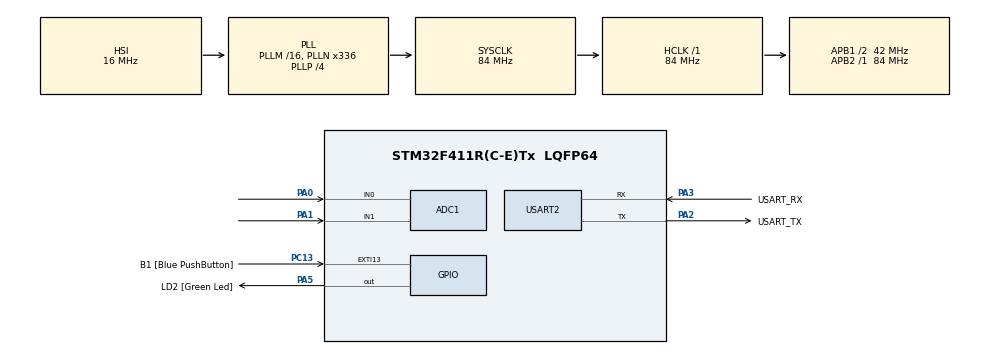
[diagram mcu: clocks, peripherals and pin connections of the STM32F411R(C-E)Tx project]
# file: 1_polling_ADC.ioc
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ADC1.Channel-0\#ChannelRegularConversion=ADC_CHANNEL_0
ADC1.Channel-1\#ChannelRegularConversion=ADC_CHANNEL_1
ADC1.ContinuousConvMode=ENABLE
ADC1.NbrOfConversion=2
ADC1.NbrOfConversionFlag=1
ADC1.Rank-0\#ChannelRegularConversion=1
ADC1.Rank-1\#ChannelRegularConversion=2
ADC1.SamplingTime-0\#ChannelRegularConversion=ADC_SAMPLETIME_84CYCLES
ADC1.SamplingTime-1\#ChannelRegularConversion=ADC_SAMPLETIME_84CYCLES
ADC1.ScanConvMode=ENABLE
ADC1.master=1
Mcu.Family=STM32F4
Mcu.Name=STM32F411R(C-E)Tx
Mcu.Package=LQFP64
NVIC.PriorityGroup=NVIC_PRIORITYGROUP_0
PA0-WKUP.Signal=ADCx_IN0
PA1.Signal=ADCx_IN1
PA13.GPIO_Label=TMS
PA13.Mode=Serial_Wire
PA13.Signal=SYS_JTMS-SWDIO
PA14.GPIO_Label=TCK
PA14.Mode=Serial_Wire
PA14.Signal=SYS_JTCK-SWCLK
PA2.GPIO_Label=USART_TX
PA2.Mode=Asynchronous
PA2.Signal=USART2_TX
PA3.GPIO_Label=USART_RX
PA3.Mode=Asynchronous
PA3.Signal=USART2_RX
PA5.GPIO_Label=LD2 [Green Led]
PA5.Signal=GPIO_Output
PB3.GPIO_Label=SWO
PB3.Signal=SYS_JTDO-SWO
PC13-ANTI_TAMP.GPIO_Label=B1 [Blue PushButton]
PC13-ANTI_TAMP.GPIO_ModeDefaultEXTI=GPIO_MODE_IT_FALLING
PC13-ANTI_TAMP.Signal=GPXTI13
PC14-OSC32_IN.Mode=LSE-External-Oscillator
PC14-OSC32_IN.Signal=RCC_OSC32_IN
PC15-OSC32_OUT.Mode=LSE-External-Oscillator
PC15-OSC32_OUT.Signal=RCC_OSC32_OUT
PH0\ -\ OSC_IN.Mode=HSE-External-Clock-Source
PH0\ -\ OSC_IN.Signal=RCC_OSC_IN
PH1\ -\ OSC_OUT.Mode=HSE-External-Clock-Source
PH1\ -\ OSC_OUT.Signal=RCC_OSC_OUT
ProjectManager.HeapSize=0x200
ProjectManager.StackSize=0x400
ProjectManager.TargetToolchain=STM32CubeIDE
RCC.48MHZClocksFreq_Value=84000000
RCC.AHBFreq_Value=84000000
RCC.APB1CLKDivider=RCC_HCLK_DIV2
RCC.APB1Freq_Value=42000000
RCC.APB1TimFreq_Value=84000000
RCC.APB2Freq_Value=84000000
RCC.APB2TimFreq_Value=84000000
RCC.CortexFreq_Value=84000000
RCC.FLatency-AdvancedSettings=FLASH_LATENCY_2
RCC.HCLKFreq_Value=84000000
RCC.HSE_VALUE=8000000
RCC.HSI_VALUE=16000000
RCC.PLLN=336
RCC.PLLP=RCC_PLLP_DIV4
RCC.SYSCLKFreq_VALUE=84000000
RCC.SYSCLKSource=RCC_SYSCLKSOURCE_PLLCLK
RCC.VCOOutputFreq_Value=336000000
SH.ADCx_IN0.0=ADC1_IN0,IN0
SH.ADCx_IN1.0=ADC1_IN1,IN1
USART2.VirtualMode=VM_ASYNC
board=NUCLEO-F411RE

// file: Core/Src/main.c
/* USER CODE BEGIN Header */
/**
  ******************************************************************************
  * @file           : main.c
  * @brief          : Main program body
  ******************************************************************************
  * @attention
  *
  * Copyright (c) 2025 STMicroelectronics.
  * All rights reserved.
  *
  * This software is licensed under terms that can be found in the LICENSE file
  * in the root directory of this software component.
  * If no LICENSE file comes with this software, it is provided AS-IS.
  *
  ******************************************************************************
  */
/* USER CODE END Header */
#include "main.h"

/* USER CODE BEGIN Includes */
#include <stdio.h>
/* USER CODE END Includes */

ADC_HandleTypeDef hadc1;

UART_HandleTypeDef huart2;

void SystemClock_Config(void);
static void MX_GPIO_Init(void);
static void MX_USART2_UART_Init(void);
static void MX_ADC1_Init(void);
/* USER CODE BEGIN PFP */
int __io_putchar(int ch)
{
	HAL_UART_Transmit(&huart2, (uint8_t *)&ch, 1, 0xFFFF);
	return ch;
}
/* USER CODE END PFP */

int main(void)
{

  /* USER CODE BEGIN 1 */
	float volt1=0.0, volt2=0.0;
	uint32_t value1 = 0, value2=0, ad_max=4095;
  /* USER CODE END 1 */

  /* MCU Configuration--------------------------------------------------------*/

  /* Reset of all peripherals, Initializes the Flash interface and the Systick. */
  HAL_Init();

  /* Configure the system clock */
  SystemClock_Config();

  /* Initialize all configured peripherals */
  MX_GPIO_Init();
  MX_USART2_UART_Init();
  MX_ADC1_Init();

  /* Infinite loop */
  /* USER CODE BEGIN WHILE */
  while (1)
  {
	  HAL_ADC_Start(&hadc1);	//ADC Start 함수
	  HAL_ADC_PollForConversion(&hadc1, 100);	//Channel 0
	  value1=HAL_ADC_GetValue(&hadc1);
	  HAL_ADC_PollForConversion(&hadc1, 100);	//Channel 0
	  value2=HAL_ADC_GetValue(&hadc1);
	  HAL_ADC_Stop(&hadc1);
	  volt1=(float)((value1*3.3)/ad_max);
	  volt2=(float)((value2*3.3)/ad_max);
	  printf("\n\r adc value1=%ld, volt1=%1.2f \t value2=%ld, volt2=%1.2f", value1, volt1, value2, volt2);
	  HAL_Delay(10);
    /* USER CODE END WHILE */

  }
}

void SystemClock_Config(void)
{
  RCC_OscInitTypeDef RCC_OscInitStruct = {0};
  RCC_ClkInitTypeDef RCC_ClkInitStruct = {0};

  /** Configure the main internal regulator output voltage
  */
  __HAL_RCC_PWR_CLK_ENABLE();
  __HAL_PWR_VOLTAGESCALING_CONFIG(PWR_REGULATOR_VOLTAGE_SCALE1);

  /** Initializes the RCC Oscillators according to the specified parameters
  * in the RCC_OscInitTypeDef structure.
  */
  RCC_OscInitStruct.OscillatorType = RCC_OSCILLATORTYPE_HSI;
  RCC_OscInitStruct.HSIState = RCC_HSI_ON;
  RCC_OscInitStruct.HSICalibrationValue = RCC_HSICALIBRATION_DEFAULT;
  RCC_OscInitStruct.PLL.PLLState = RCC_PLL_ON;
  RCC_OscInitStruct.PLL.PLLSource = RCC_PLLSOURCE_HSI;
  RCC_OscInitStruct.PLL.PLLM = 16;
  RCC_OscInitStruct.PLL.PLLN = 336;
  RCC_OscInitStruct.PLL.PLLP = RCC_PLLP_DIV4;
  RCC_OscInitStruct.PLL.PLLQ = 4;
  if (HAL_RCC_OscConfig(&RCC_OscInitStruct) != HAL_OK)
  {
    Error_Handler();
  }

  /** Initializes the CPU, AHB and APB buses clocks
  */
  RCC_ClkInitStruct.ClockType = RCC_CLOCKTYPE_HCLK|RCC_CLOCKTYPE_SYSCLK
                              |RCC_CLOCKTYPE_PCLK1|RCC_CLOCKTYPE_PCLK2;
  RCC_ClkInitStruct.SYSCLKSource = RCC_SYSCLKSOURCE_PLLCLK;
  RCC_ClkInitStruct.AHBCLKDivider = RCC_SYSCLK_DIV1;
  RCC_ClkInitStruct.APB1CLKDivider = RCC_HCLK_DIV2;
  RCC_ClkInitStruct.APB2CLKDivider = RCC_HCLK_DIV1;

  if (HAL_RCC_ClockConfig(&RCC_ClkInitStruct, FLASH_LATENCY_2) != HAL_OK)
  {
    Error_Handler();
  }
}

static void MX_ADC1_Init(void)
{

  ADC_ChannelConfTypeDef sConfig = {0};

  /** Configure the global features of the ADC (Clock, Resolution, Data Alignment and number of conversion)
  */
  hadc1.Instance = ADC1;
  hadc1.Init.ClockPrescaler = ADC_CLOCK_SYNC_PCLK_DIV4;
  hadc1.Init.Resolution = ADC_RESOLUTION_12B;
  hadc1.Init.ScanConvMode = ENABLE;
  hadc1.Init.ContinuousConvMode = ENABLE;
  hadc1.Init.DiscontinuousConvMode = DISABLE;
  hadc1.Init.ExternalTrigConvEdge = ADC_EXTERNALTRIGCONVEDGE_NONE;
  hadc1.Init.ExternalTrigConv = ADC_SOFTWARE_START;
  hadc1.Init.DataAlign = ADC_DATAALIGN_RIGHT;
  hadc1.Init.NbrOfConversion = 2;
  hadc1.Init.DMAContinuousRequests = DISABLE;
  hadc1.Init.EOCSelection = ADC_EOC_SINGLE_CONV;
  if (HAL_ADC_Init(&hadc1) != HAL_OK)
  {
    Error_Handler();
  }

  /** Configure for the selected ADC regular channel its corresponding rank in the sequencer and its sample time.
  */
  sConfig.Channel = ADC_CHANNEL_0;
  sConfig.Rank = 1;
  sConfig.SamplingTime = ADC_SAMPLETIME_84CYCLES;
  if (HAL_ADC_ConfigChannel(&hadc1, &sConfig) != HAL_OK)
  {
    Error_Handler();
  }

  /** Configure for the selected ADC regular channel its corresponding rank in the sequencer and its sample time.
  */
  sConfig.Channel = ADC_CHANNEL_1;
  sConfig.Rank = 2;
  if (HAL_ADC_ConfigChannel(&hadc1, &sConfig) != HAL_OK)
  {
    Error_Handler();
  }

}

static void MX_USART2_UART_Init(void)
{

  huart2.Instance = USART2;
  huart2.Init.BaudRate = 115200;
  huart2.Init.WordLength = UART_WORDLENGTH_8B;
  huart2.Init.StopBits = UART_STOPBITS_1;
  huart2.Init.Parity = UART_PARITY_NONE;
  huart2.Init.Mode = UART_MODE_TX_RX;
  huart2.Init.HwFlowCtl = UART_HWCONTROL_NONE;
  huart2.Init.OverSampling = UART_OVERSAMPLING_16;
  if (HAL_UART_Init(&huart2) != HAL_OK)
  {
    Error_Handler();
  }

}

static void MX_GPIO_Init(void)
{
  GPIO_InitTypeDef GPIO_InitStruct = {0};

  /* GPIO Ports Clock Enable */
  __HAL_RCC_GPIOC_CLK_ENABLE();
  __HAL_RCC_GPIOH_CLK_ENABLE();
  __HAL_RCC_GPIOA_CLK_ENABLE();
  __HAL_RCC_GPIOB_CLK_ENABLE();

  /*Configure GPIO pin Output Level */
  HAL_GPIO_WritePin(LD2_GPIO_Port, LD2_Pin, GPIO_PIN_RESET);

  /*Configure GPIO pin : B1_Pin */
  GPIO_InitStruct.Pin = B1_Pin;
  GPIO_InitStruct.Mode = GPIO_MODE_IT_FALLING;
  GPIO_InitStruct.Pull = GPIO_NOPULL;
  HAL_GPIO_Init(B1_GPIO_Port, &GPIO_InitStruct);

  /*Configure GPIO pin : LD2_Pin */
  GPIO_InitStruct.Pin = LD2_Pin;
  GPIO_InitStruct.Mode = GPIO_MODE_OUTPUT_PP;
  GPIO_InitStruct.Pull = GPIO_NOPULL;
  GPIO_InitStruct.Speed = GPIO_SPEED_FREQ_LOW;
  HAL_GPIO_Init(LD2_GPIO_Port, &GPIO_InitStruct);

}

void Error_Handler(void)
{
  __disable_irq();
  while (1)
  {
  }
}
